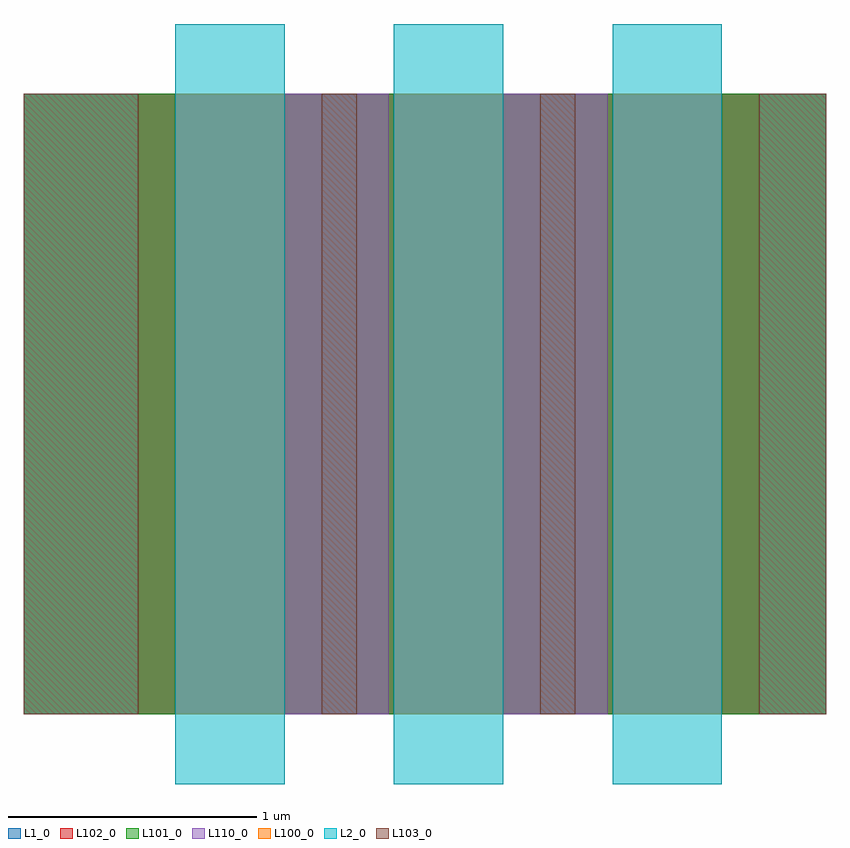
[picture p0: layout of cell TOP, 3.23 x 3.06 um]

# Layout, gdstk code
import gdstk
lib = gdstk.Library(unit=1e-6, precision=1e-09)
def R(c, l, rs):  # rectangles x0, y0, x1, y1
    for r in rs: c.add(gdstk.rectangle(r[:2], r[2:], *l))
L1_0 = (1, 0)
L2_0 = (2, 0)
L100_0 = (100, 0)
L101_0 = (101, 0)
L102_0 = (102, 0)
L103_0 = (103, 0)
L110_0 = (110, 0)

child = lib.new_cell('CHILD')
R(child, L1_0, [(-0.25,0,1.22,2.5)])
R(child, L2_0, [(0.36,-0.28,0.8,2.78)])
R(child, L100_0, [(0.36,0,0.8,2.5)])
R(child, L101_0, [(0.8,0,1.22,2.5)])
R(child, L102_0, [(0.21,0,0.95,2.5)])

top = lib.new_cell('TOP')
R(top, L100_0, [(39.95,6.8,40.12,9.3), (40.83,6.8,41,9.3)])
R(top, L101_0, [(39.07,6.8,39.68,9.3), (40.12,6.8,40.56,9.3), (41,6.8,41.44,9.3)])
R(top, L102_0, [(39.95,6.8,40.27,9.3), (40.41,6.8,40.54,9.3), (40.83,6.8,41.15,9.3), (41.29,6.8,41.42,9.3)])
R(top, L103_0, [(39.07,6.8,39.53,9.3), (40.27,6.8,40.41,9.3), (41.15,6.8,41.29,9.3), (42.03,6.8,42.3,9.3)])
R(top, L110_0, [(39.68,6.8,40.54,9.3), (40.56,6.8,41.42,9.3), (41.44,6.8,41.88,9.3)])
r = gdstk.Reference(child, (39.32,9.3), x_reflection=True); r.repetition = gdstk.Repetition(3, 1, v1=(0.88,0), v2=(0,0)); top.add(r)

lib.write_gds('TOP.gds')
